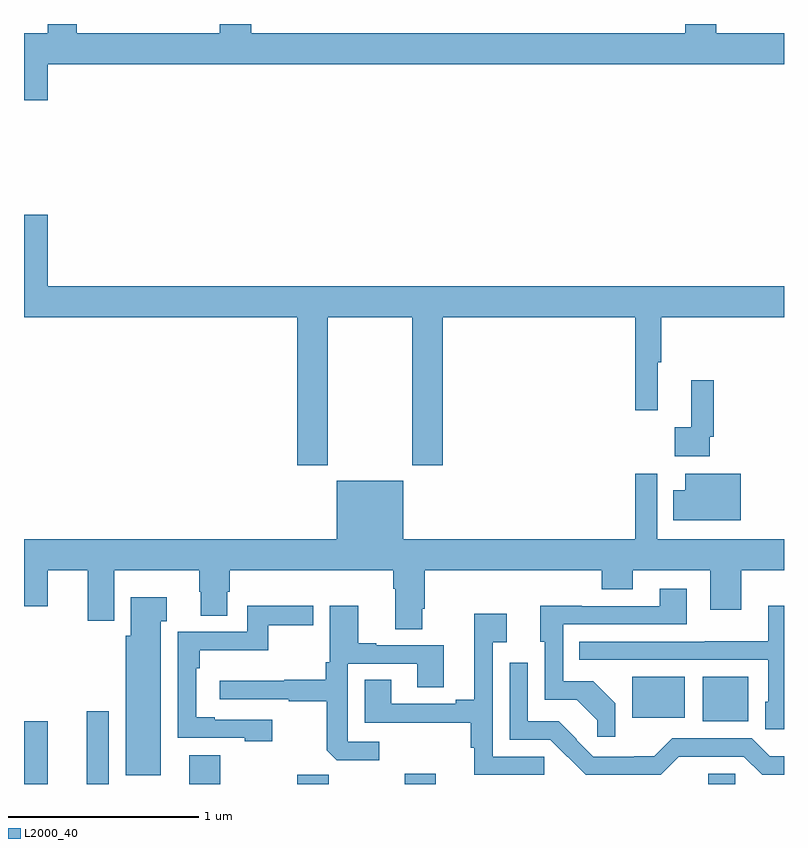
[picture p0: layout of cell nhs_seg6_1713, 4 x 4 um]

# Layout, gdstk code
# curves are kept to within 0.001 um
import gdstk
lib = gdstk.Library(unit=1e-6, precision=1e-09)
def R(c, l, rs):  # rectangles x0, y0, x1, y1
    for r in rs: c.add(gdstk.rectangle(r[:2], r[2:], *l))
def P(c, l, *ps):  # polygons
    for p in ps: c.add(gdstk.Polygon(p, *l))
L2000_40 = (2000, 40)

nhs_seg6_1713 = lib.new_cell('nhs_seg6_1713')
R(nhs_seg6_1713, L2000_40, [(213,991.5,213.124,991.831), (213.329,991.5,213.445,991.882), (213.869,991.5,214.033,991.651), (214.439,991.5,214.603,991.549), (215.003,991.5,215.167,991.555), (216.602,991.5,216.744,991.554), (216.572,991.829,216.811,992.065), (216.2,991.85,216.478,992.065)])
P(nhs_seg6_1713, L2000_40, [(213.124,995.288),(217,995.288),(217,995.452),(216.644,995.452),(216.644,995.5),(216.479,995.5),(216.479,995.452),(214.196,995.452),(214.196,995.5),(214.031,995.5),(214.031,995.452),(213.278,995.452),(213.278,995.5),(213.125,995.5),(213.125,995.452),(213,995.452),(213,995.1),(213.124,995.1)],
  [(214.599,993.956),(215.044,993.956),(215.044,993.177),(215.204,993.177),(215.204,993.956),(216.217,993.956),(216.217,993.468),(216.335,993.468),(216.335,993.72),(216.353,993.72),(216.353,993.956),(217,993.956),(217,994.12),(213.124,994.12),(213.124,994.495),(213,994.495),(213,993.956),(214.439,993.956),(214.439,993.177),(214.599,993.177)],
  [(216.609,993.328),(216.629,993.328),(216.629,993.625),(216.512,993.625),(216.512,993.377),(216.426,993.377),(216.426,993.224),(216.609,993.224)],
  [(214.996,993.097),(214.646,993.097),(214.646,992.788),(213,992.788),(213,992.436),(213.124,992.436),(213.124,992.624),(213.335,992.624),(213.335,992.358),(213.475,992.358),(213.475,992.624),(213.922,992.624),(213.922,992.511),(213.929,992.511),(213.929,992.386),(214.069,992.386),(214.069,992.511),(214.082,992.511),(214.082,992.624),(214.943,992.624),(214.943,992.528),(214.955,992.528),(214.955,992.314),(215.095,992.314),(215.095,992.422),(215.108,992.422),(215.108,992.624),(216.041,992.624),(216.041,992.525),(216.205,992.525),(216.205,992.624),(216.611,992.624),(216.611,992.418),(216.775,992.418),(216.775,992.624),(217,992.624),(217,992.788),(216.333,992.788),(216.333,993.133),(216.217,993.133),(216.217,992.788),(214.996,992.788)],
  [(216.772,993.133),(216.479,993.133),(216.479,993.046),(216.418,993.046),(216.418,992.888),(216.772,992.888)],
  [(216.111,991.924),(215.995,992.04),(215.838,992.04),(215.838,992.34),(216.487,992.34),(216.487,992.527),(216.347,992.527),(216.347,992.436),(215.935,992.436),(215.935,992.438),(215.717,992.438),(215.717,992.25),(215.742,992.25),(215.742,991.944),(215.908,991.944),(216.016,991.836),(216.016,991.749),(216.111,991.749)],
  [(213.721,992.357),(213.751,992.357),(213.751,992.482),(213.563,992.482),(213.563,992.28),(213.536,992.28),(213.536,991.547),(213.721,991.547)],
  [(214.306,991.839),(214.003,991.839),(214.003,991.852),(213.906,991.852),(213.906,992.108),(213.926,992.108),(213.926,992.204),(214.285,992.204),(214.285,992.335),(214.522,992.335),(214.522,992.438),(214.176,992.438),(214.176,992.301),(213.81,992.301),(213.81,991.743),(214.161,991.743),(214.161,991.724),(214.306,991.724)],
  [(214.87,991.722),(214.704,991.722),(214.704,992.133),(215.069,992.133),(215.069,992.008),(215.209,992.008),(215.209,992.229),(214.855,992.229),(214.855,992.242),(214.759,992.242),(214.759,992.437),(214.608,992.437),(214.608,992.14),(214.588,992.14),(214.588,992.048),(214.369,992.048),(214.369,992.044),(214.029,992.044),(214.029,991.947),(214.393,991.947),(214.393,991.935),(214.593,991.935),(214.593,991.677),(214.645,991.626),(214.87,991.626)],
  [(217,992.437),(216.917,992.437),(216.917,992.251),(216.583,992.251),(216.583,992.25),(215.923,992.25),(215.923,992.154),(216.918,992.154),(216.918,991.932),(216.902,991.932),(216.902,991.789),(217,991.789)],
  [(215.739,991.644),(215.466,991.644),(215.466,992.246),(215.542,992.246),(215.542,992.395),(215.369,992.395),(215.369,991.943),(215.273,991.943),(215.273,991.923),(214.933,991.923),(214.933,992.048),(214.793,992.048),(214.793,991.822),(215.35,991.822),(215.35,991.691),(215.369,991.691),(215.369,991.548),(215.739,991.548)],
  [(216.446,991.643),(216.789,991.644),(216.885,991.548),(217,991.548),(217,991.645),(216.926,991.645),(216.831,991.74),(216.411,991.74),(216.317,991.646),(216.212,991.646),(216.212,991.644),(215.997,991.644),(215.907,991.734),(215.909,991.736),(215.815,991.83),(215.652,991.83),(215.652,992.137),(215.556,992.137),(215.556,991.734),(215.769,991.734),(215.957,991.548),(216.351,991.548)])

lib.write_gds('nhs_seg6_1713.gds')
